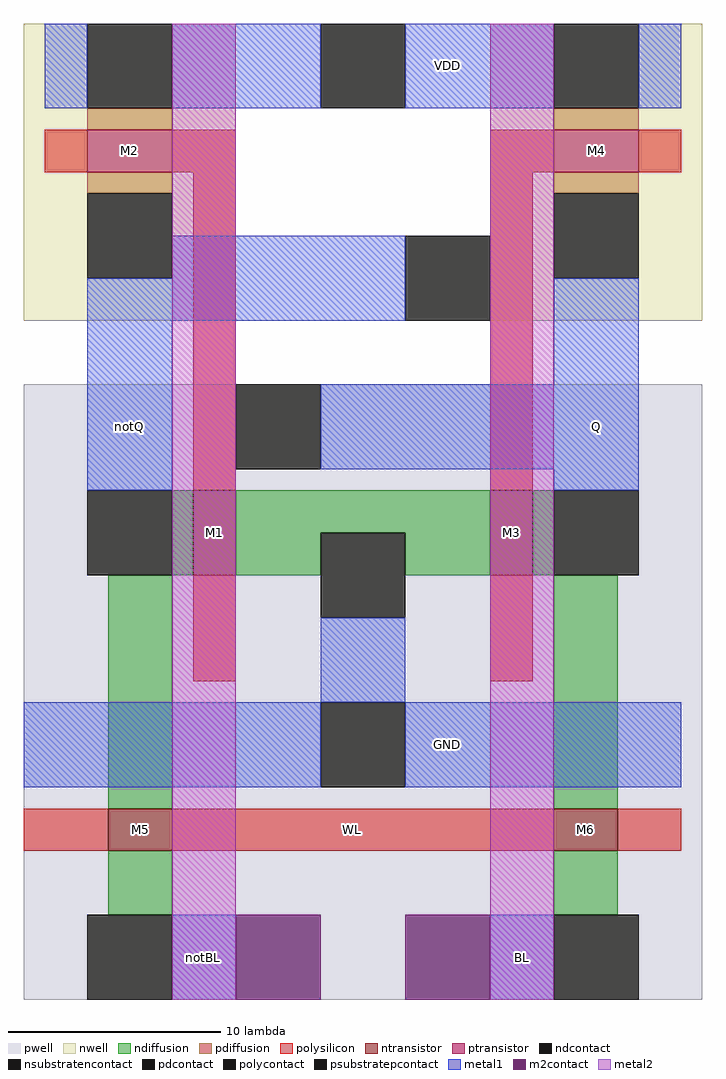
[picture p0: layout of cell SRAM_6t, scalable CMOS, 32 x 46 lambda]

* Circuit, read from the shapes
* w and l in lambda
.subckt SRAM_6t BL GND Q VDD WL notBL notQ
M1 notQ WL notBL GND nfet w=3 l=2
M2 GND Q notQ GND nfet w=4 l=2
M3 Q notQ GND GND nfet w=4 l=2
M4 Q WL BL GND nfet w=3 l=2
M5 VDD Q notQ n1 pfet w=4 l=2
M6 VDD notQ Q n2 pfet w=4 l=2
.ends

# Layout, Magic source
magic
tech scmos
<< pwell >>
rect 0 -8 32 21
<< nwell >>
rect 0 24 10 38
rect 22 24 32 38
<< polysilicon >>
rect 1 31 3 33
rect 7 31 10 33
rect 8 16 10 31
rect 22 31 25 33
rect 29 31 31 33
rect 22 16 24 31
rect 8 7 10 12
rect 22 7 24 12
rect 0 -1 4 1
rect 7 -1 25 1
rect 28 -1 31 1
<< ndiffusion >>
rect 7 12 8 16
rect 10 14 22 16
rect 10 12 14 14
rect 4 1 7 12
rect 18 12 22 14
rect 24 12 25 16
rect 25 1 28 12
rect 4 -4 7 -1
rect 25 -4 28 -1
<< pdiffusion >>
rect 3 33 7 34
rect 25 33 29 34
rect 3 30 7 31
rect 25 30 29 31
<< metal1 >>
rect 1 34 3 38
rect 7 34 14 38
rect 18 34 25 38
rect 29 34 31 38
rect 7 26 18 28
rect 3 24 18 26
rect 3 16 7 24
rect 25 21 29 26
rect 14 17 29 21
rect 25 16 29 17
rect 14 6 18 10
rect 0 2 14 6
rect 18 2 31 6
rect 7 -8 10 -4
rect 22 -8 25 -4
<< metal2 >>
rect 7 -8 10 38
rect 22 -8 25 38
<< ntransistor >>
rect 8 12 10 16
rect 22 12 24 16
rect 4 -1 7 1
rect 25 -1 28 1
<< ptransistor >>
rect 3 31 7 33
rect 25 31 29 33
<< polycontact >>
rect 18 24 22 28
rect 10 17 14 21
<< ndcontact >>
rect 3 12 7 16
rect 14 10 18 14
rect 25 12 29 16
rect 3 -8 7 -4
rect 25 -8 29 -4
<< pdcontact >>
rect 3 34 7 38
rect 25 34 29 38
rect 3 26 7 30
rect 25 26 29 30
<< m2contact >>
rect 10 -8 14 -4
rect 18 -8 22 -4
<< psubstratepcontact >>
rect 14 2 18 6
<< nsubstratencontact >>
rect 14 34 18 38
<< labels >>
rlabel polysilicon 14 -1 17 1 0 WL
rlabel metal1 18 34 22 38 0 VDD
rlabel metal1 18 2 22 6 0 GND
rlabel metal1 25 17 29 21 0 Q
rlabel ptransistor 3 31 7 33 0 M2
rlabel ntransistor 4 -1 7 1 0 M5
rlabel ntransistor 25 -1 28 1 0 M6
rlabel ptransistor 25 31 29 33 0 M4
rlabel ntransistor 22 12 24 16 0 M3
rlabel ntransistor 8 12 10 16 0 M1
rlabel metal1 22 -8 25 -4 0 BL
rlabel metal1 7 -8 10 -4 0 notBL
rlabel metal1 3 17 7 21 0 notQ
<< end >>
